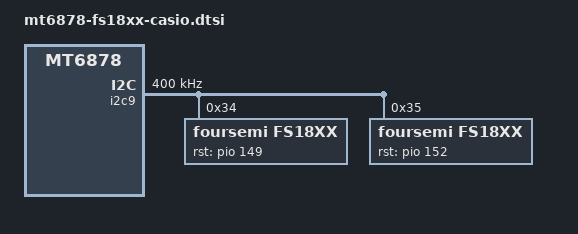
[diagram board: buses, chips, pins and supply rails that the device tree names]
&i2c9 {
    #address-cells = <1>;
    #size-cells = <0>;
    clock-frequency = <400000>;
    mediatek,use-open-drain;

    fs18xx@34 {
        compatible = "foursemi,fs18xx";
        reg = <0x34>;
        fsm,rst-gpio = <&pio 149 0>; // according to schematic diagram
        fsm,channel-num =/bits/ 16 <1>;
        status = "okay";
    };

    fs18xx@35 {
        compatible = "foursemi,fs18xx";
        reg = <0x35>;
        fsm,rst-gpio = <&pio 152 0>; // according to schematic diagram
        fsm,channel-num =/bits/ 16 <0>;
        status = "okay";
    };
};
